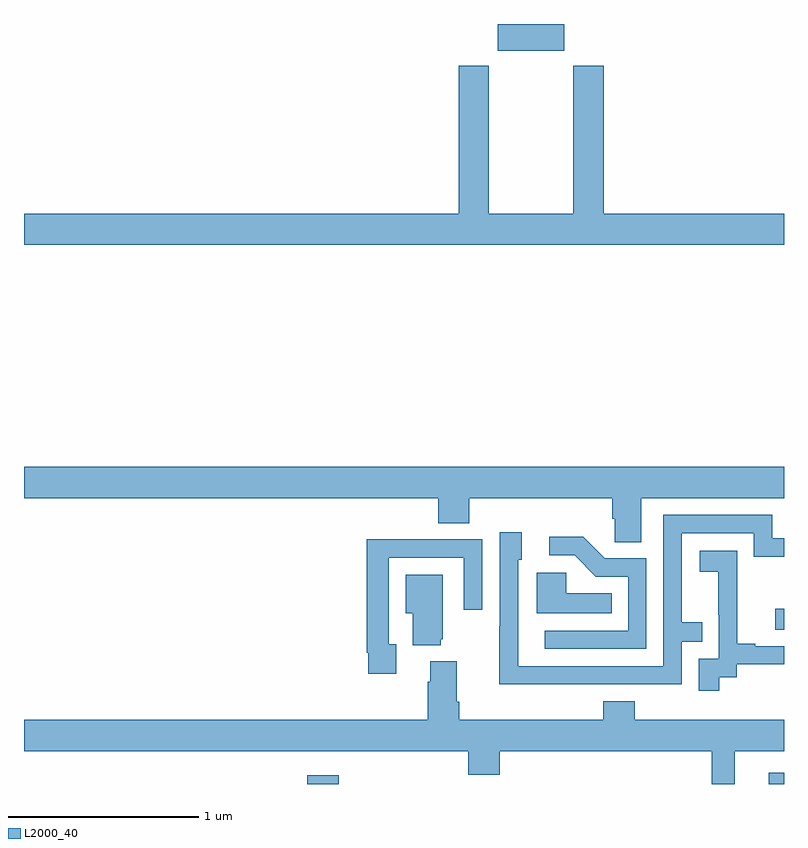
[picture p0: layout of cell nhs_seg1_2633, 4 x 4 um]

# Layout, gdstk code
import gdstk
lib = gdstk.Library(unit=1e-6, precision=1e-09)
def R(c, l, rs):  # rectangles x0, y0, x1, y1
    for r in rs: c.add(gdstk.rectangle(r[:2], r[2:], *l))
def P(c, l, *ps):  # polygons
    for p in ps: c.add(gdstk.Polygon(p, *l))
L2000_40 = (2000, 40)

nhs_seg1_2633 = lib.new_cell('nhs_seg1_2633')
R(nhs_seg1_2633, L2000_40, [(254.492,578.199,254.657,578.245), (256.919,578.199,257,578.257), (256.953,579.012,257,579.121), (255.494,582.059,255.844,582.199)])
P(nhs_seg1_2633, L2000_40, [(257,581.2),(256.052,581.2),(256.052,581.98),(255.892,581.98),(255.892,581.2),(255.447,581.2),(255.447,581.98),(255.287,581.98),(255.287,581.2),(253,581.2),(253,581.036),(257,581.036)],
  [(256.249,579.704),(257,579.704),(257,579.868),(253,579.868),(253,579.704),(255.179,579.704),(255.179,579.571),(255.344,579.571),(255.344,579.704),(256.097,579.704),(256.097,579.595),(256.11,579.595),(256.11,579.472),(256.249,579.472)],
  [(255.965,578.724),(256.461,578.724),(256.461,578.949),(256.571,578.949),(256.571,579.05),(256.461,579.05),(256.461,579.519),(256.842,579.519),(256.842,579.396),(257,579.396),(257,579.492),(256.939,579.492),(256.939,579.615),(256.365,579.615),(256.365,578.82),(255.601,578.82),(255.601,579.074),(255.6,579.074),(255.6,579.378),(255.619,579.378),(255.619,579.523),(255.504,579.523),(255.504,579.029),(255.502,579.029),(255.502,578.723),(255.965,578.723)],
  [(256.275,579.387),(256.056,579.387),(255.943,579.5),(255.765,579.5),(255.765,579.402),(255.899,579.402),(256.01,579.291),(256.179,579.291),(256.179,579.006),(255.741,579.006),(255.741,578.91),(256.275,578.91)],
  [(254.959,578.934),(254.919,578.934),(254.919,579.39),(255.315,579.39),(255.315,579.117),(255.411,579.117),(255.411,579.486),(255.095,579.486),(255.095,579.488),(254.803,579.488),(254.803,578.89),(254.811,578.89),(254.811,578.778),(254.959,578.778)],
  [(256.66,578.761),(256.752,578.761),(256.752,578.829),(257,578.829),(257,578.925),(256.849,578.925),(256.849,578.938),(256.754,578.938),(256.754,579.221),(256.755,579.221),(256.755,579.427),(256.557,579.427),(256.557,579.317),(256.654,579.317),(256.654,579.089),(256.656,579.089),(256.656,578.859),(256.551,578.859),(256.551,578.691),(256.66,578.691)],
  [(256.094,579.202),(255.855,579.202),(255.855,579.31),(255.698,579.31),(255.698,579.098),(256.094,579.098)],
  [(255.194,578.961),(255.205,578.961),(255.205,579.301),(255.008,579.301),(255.008,579.098),(255.047,579.098),(255.047,578.93),(255.194,578.93)],
  [(256.741,578.372),(257,578.372),(257,578.536),(256.214,578.536),(256.214,578.635),(256.049,578.635),(256.049,578.536),(255.29,578.536),(255.29,578.632),(255.277,578.632),(255.277,578.845),(255.137,578.845),(255.137,578.738),(255.125,578.738),(255.125,578.536),(253,578.536),(253,578.372),(255.338,578.372),(255.338,578.248),(255.503,578.248),(255.503,578.372),(256.62,578.372),(256.62,578.199),(256.741,578.199)])

lib.write_gds('nhs_seg1_2633.gds')
